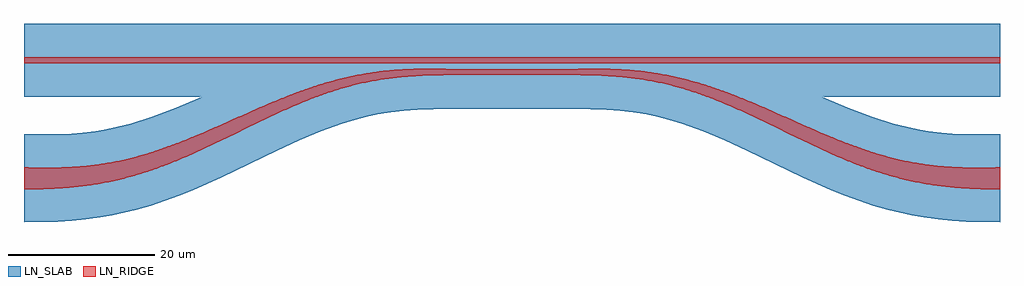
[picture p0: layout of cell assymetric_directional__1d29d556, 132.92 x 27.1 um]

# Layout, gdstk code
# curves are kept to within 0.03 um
from math import pi, radians
import gdstk
lib = gdstk.Library(unit=1e-6, precision=1e-09)
def R(c, l, rs):  # rectangles x0, y0, x1, y1
    for r in rs: c.add(gdstk.rectangle(r[:2], r[2:], *l))
def P(c, l, *ps):  # polygons
    for p in ps: c.add(gdstk.Polygon(p, *l))
LN_RIDGE = (2, 0)
LN_SLAB = (3, 0)

bend_s_spline_varying_w_ = lib.new_cell('bend_S_spline_varying_w_d54c346a')
P(bend_s_spline_varying_w_, LN_RIDGE, [(2.908,-0.436),(0,-0.4),(0,0.4),(4.908,0.567),(6.916,0.732),(8.632,0.94),(10.63,1.269),(12.339,1.63),(14.046,2.065),(15.752,2.573),(18.88,3.68),(22.299,5.112),(25.441,6.572),(32.636,10.069),(36.417,11.772),(39.641,13.045),(42.593,14.021),(44.372,14.511),(45.859,14.862),(47.647,15.212),(49.436,15.487),(51.521,15.718),(53.302,15.849),(58,16),(58,13),(53.701,13.026),(50.308,12.861),(48.617,12.687),(46.925,12.443),(43.815,11.806),(40.685,10.926),(37.243,9.72),(33.484,8.188),(26.179,4.961),(22.941,3.597),(19.991,2.471),(17.035,1.5),(15.261,1.006),(13.488,0.584),(12.011,0.291),(10.24,0.009),(8.473,-0.198),(6.71,-0.336)])
P(bend_s_spline_varying_w_, LN_SLAB, [(4.533,-5.014),(0,-5),(0,5),(4.434,5.138),(6.274,5.279),(8.077,5.492),(9.86,5.787),(11.382,6.109),(12.908,6.498),(14.703,7.039),(17.572,8.072),(20.516,9.311),(23.546,10.715),(31.07,14.351),(35.031,16.108),(36.906,16.859),(38.808,17.555),(40.735,18.186),(42.684,18.744),(45.963,19.495),(47.607,19.782),(49.573,20.052),(51.52,20.244),(53.436,20.37),(58,20.5),(58,8.5),(53.338,8.51),(51.531,8.428),(50.009,8.301),(48.249,8.079),(46.74,7.819),(45.222,7.492),(43.43,7.025),(40.549,6.105),(37.299,4.864),(34.218,3.554),(26.866,0.294),(22.86,-1.335),(19.062,-2.66),(17.132,-3.229),(15.187,-3.724),(13.232,-4.14),(11.6,-4.422),(9.972,-4.647),(8.03,-4.842)])

straight_l16p92_n2_csxs_ = lib.new_cell('straight_L16p92_N2_CSxs_37404e8b')
R(straight_l16p92_n2_csxs_, LN_RIDGE, [(0,-0.4,16.92,0.4)])
R(straight_l16p92_n2_csxs_, LN_SLAB, [(0,-5,16.92,5)])

straight_l132p920000000_ = lib.new_cell('straight_L132p920000000_8f344336')
R(straight_l132p920000000_, LN_RIDGE, [(0,-0.4,132.92,0.4)])
R(straight_l132p920000000_, LN_SLAB, [(0,-5,132.92,5)])

assymetric_directional__ = lib.new_cell('assymetric_directional__1d29d556')
assymetric_directional__.add(gdstk.Reference(bend_s_spline_varying_w_, (-8.46,-0.8), rotation=pi))
assymetric_directional__.add(gdstk.Reference(straight_l16p92_n2_csxs_, (-8.46,-0.8)))
assymetric_directional__.add(gdstk.Reference(bend_s_spline_varying_w_, (8.46,-0.8), x_reflection=True))
assymetric_directional__.add(gdstk.Reference(straight_l132p920000000_, (-66.46,0.8)))

lib.write_gds('assymetric_directional__1d29d556.gds')
